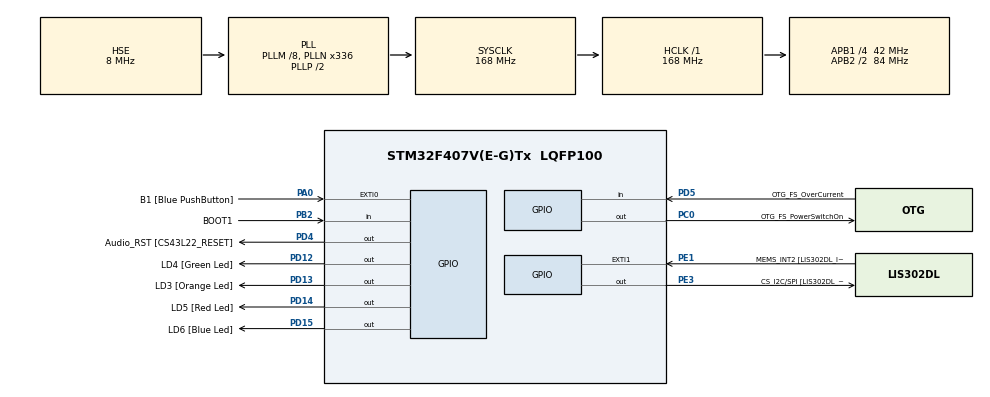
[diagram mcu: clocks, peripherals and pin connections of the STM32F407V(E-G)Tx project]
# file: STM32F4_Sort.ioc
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Mcu.Family=STM32F4
Mcu.Name=STM32F407V(E-G)Tx
Mcu.Package=LQFP100
NVIC.PriorityGroup=NVIC_PRIORITYGROUP_0
PA0-WKUP.GPIO_Label=B1 [Blue PushButton]
PA0-WKUP.GPIO_ModeDefaultEXTI=GPIO_MODE_EVT_RISING
PA0-WKUP.GPIO_PuPd=GPIO_NOPULL
PA0-WKUP.Signal=GPXTI0
PA10.GPIO_Label=OTG_FS_ID
PA10.GPIO_Mode=GPIO_MODE_AF_PP
PA10.GPIO_PuPd=GPIO_NOPULL
PA10.GPIO_Speed=GPIO_SPEED_LOW
PA10.Signal=USB_OTG_FS_ID
PA11.GPIO_Label=OTG_FS_DM
PA11.GPIO_Mode=GPIO_MODE_AF_PP
PA11.GPIO_PuPd=GPIO_NOPULL
PA11.GPIO_Speed=GPIO_SPEED_LOW
PA11.Signal=USB_OTG_FS_DM
PA12.GPIO_Label=OTG_FS_DP
PA12.GPIO_Mode=GPIO_MODE_AF_PP
PA12.GPIO_PuPd=GPIO_NOPULL
PA12.GPIO_Speed=GPIO_SPEED_LOW
PA12.Signal=USB_OTG_FS_DP
PA13.GPIO_Label=SWDIO
PA13.Mode=Trace-Asynchronous_SW
PA13.Signal=SYS_JTMS-SWDIO
PA14.GPIO_Label=SWCLK
PA14.Mode=Trace-Asynchronous_SW
PA14.Signal=SYS_JTCK-SWCLK
PA4.GPIO_Label=I2S3_WS [CS43L22_LRCK]
PA4.GPIO_Mode=GPIO_MODE_AF_PP
PA4.GPIO_PuPd=GPIO_NOPULL
PA4.GPIO_Speed=GPIO_SPEED_LOW
PA4.Signal=I2S3_WS
PA5.GPIO_Label=SPI1_SCK [LIS302DL_SCL/SPC]
PA5.GPIO_Mode=GPIO_MODE_AF_PP
PA5.GPIO_PuPd=GPIO_NOPULL
PA5.GPIO_Speed=GPIO_SPEED_LOW
PA5.Signal=SPI1_SCK
PA6.GPIO_Label=SPI1_MISO [LIS302DL_SDO]
PA6.GPIO_Mode=GPIO_MODE_AF_PP
PA6.GPIO_PuPd=GPIO_NOPULL
PA6.GPIO_Speed=GPIO_SPEED_LOW
PA6.Signal=SPI1_MISO
PA7.GPIO_Label=SPI1_MOSI [LIS302DL_SDA/SDI/SDO]
PA7.GPIO_Mode=GPIO_MODE_AF_PP
PA7.GPIO_PuPd=GPIO_NOPULL
PA7.GPIO_Speed=GPIO_SPEED_LOW
PA7.Signal=SPI1_MOSI
PA9.GPIO_Label=VBUS_FS
PA9.GPIO_Mode=GPIO_MODE_INPUT
PA9.GPIO_PuPd=GPIO_NOPULL
PA9.Signal=USB_OTG_FS_VBUS
PB10.GPIO_Label=CLK_IN [MP45DT02_CLK]
PB10.GPIO_Mode=GPIO_MODE_AF_PP
PB10.GPIO_PuPd=GPIO_NOPULL
PB10.GPIO_Speed=GPIO_SPEED_LOW
PB10.Signal=I2S2_CK
PB2.GPIO_Label=BOOT1
PB2.GPIO_Mode=GPIO_MODE_INPUT
PB2.GPIO_PuPd=GPIO_NOPULL
PB2.Signal=GPIO_Input
PB3.GPIO_Label=SWO
PB3.Mode=Trace-Asynchronous_SW
PB3.Signal=SYS_JTDO-SWO
PB6.GPIO_Label=Audio_SCL [CS43L22_SCL]
PB6.GPIO_Mode=GPIO_MODE_AF_OD
PB6.GPIO_PuPd=GPIO_NOPULL
PB6.GPIO_Speed=GPIO_SPEED_LOW
PB6.Signal=I2C1_SCL
PB9.GPIO_Label=Audio_SDA [CS43L22_SDA]
PB9.GPIO_Mode=GPIO_MODE_AF_OD
PB9.GPIO_PuPd=GPIO_NOPULL
PB9.GPIO_Speed=GPIO_SPEED_LOW
PB9.Signal=I2C1_SDA
PC0.GPIO_Label=OTG_FS_PowerSwitchOn
PC0.GPIO_PuPd=GPIO_NOPULL
PC0.GPIO_Speed=GPIO_SPEED_LOW
PC0.Signal=GPIO_Output
PC10.GPIO_Label=I2S3_SCK [CS43L22_SCLK]
PC10.GPIO_Mode=GPIO_MODE_AF_PP
PC10.GPIO_PuPd=GPIO_NOPULL
PC10.GPIO_Speed=GPIO_SPEED_LOW
PC10.Signal=I2S3_CK
PC12.GPIO_Label=I2S3_SD [CS43L22_SDIN]
PC12.GPIO_Mode=GPIO_MODE_AF_PP
PC12.GPIO_PuPd=GPIO_NOPULL
PC12.GPIO_Speed=GPIO_SPEED_LOW
PC12.Signal=I2S3_SD
PC14-OSC32_IN.GPIO_Label=PC14-OSC32_IN
PC14-OSC32_IN.Signal=RCC_OSC32_IN
PC15-OSC32_OUT.GPIO_Label=PC15-OSC32_OUT
PC15-OSC32_OUT.Signal=RCC_OSC32_OUT
PC3.GPIO_Label=PDM_OUT [MP45DT02_DOUT]
PC3.GPIO_Mode=GPIO_MODE_AF_PP
PC3.GPIO_PuPd=GPIO_NOPULL
PC3.GPIO_Speed=GPIO_SPEED_LOW
PC3.Signal=I2S2_SD
PC7.GPIO_Label=I2S3_MCK [CS43L22_MCLK]
PC7.GPIO_Mode=GPIO_MODE_AF_PP
PC7.GPIO_PuPd=GPIO_NOPULL
PC7.GPIO_Speed=GPIO_SPEED_LOW
PC7.Signal=I2S3_MCK
PD12.GPIO_Label=LD4 [Green Led]
PD12.GPIO_PuPd=GPIO_NOPULL
PD12.GPIO_Speed=GPIO_SPEED_LOW
PD12.Signal=GPIO_Output
PD13.GPIO_Label=LD3 [Orange Led]
PD13.GPIO_PuPd=GPIO_NOPULL
PD13.GPIO_Speed=GPIO_SPEED_LOW
PD13.Signal=GPIO_Output
PD14.GPIO_Label=LD5 [Red Led]
PD14.GPIO_PuPd=GPIO_NOPULL
PD14.GPIO_Speed=GPIO_SPEED_LOW
PD14.Signal=GPIO_Output
PD15.GPIO_Label=LD6 [Blue Led]
PD15.GPIO_PuPd=GPIO_NOPULL
PD15.GPIO_Speed=GPIO_SPEED_LOW
PD15.Signal=GPIO_Output
PD4.GPIO_Label=Audio_RST [CS43L22_RESET]
PD4.GPIO_PuPd=GPIO_NOPULL
PD4.GPIO_Speed=GPIO_SPEED_LOW
PD4.Signal=GPIO_Output
PD5.GPIO_Label=OTG_FS_OverCurrent
PD5.GPIO_Mode=GPIO_MODE_INPUT
PD5.GPIO_PuPd=GPIO_NOPULL
PD5.Signal=GPIO_Input
PE1.GPIO_Label=MEMS_INT2 [LIS302DL_INT2]
PE1.GPIO_ModeDefaultEXTI=GPIO_MODE_EVT_RISING
PE1.GPIO_PuPd=GPIO_NOPULL
PE1.Signal=GPXTI1
PE3.GPIO_Label=CS_I2C/SPI [LIS302DL_CS_I2C/SPI]
PE3.GPIO_PuPd=GPIO_NOPULL
PE3.GPIO_Speed=GPIO_SPEED_LOW
PE3.Signal=GPIO_Output
PH0-OSC_IN.GPIO_Label=PH0-OSC_IN
PH0-OSC_IN.Mode=HSE-External-Oscillator
PH0-OSC_IN.Signal=RCC_OSC_IN
PH1-OSC_OUT.GPIO_Label=PH1-OSC_OUT
PH1-OSC_OUT.Mode=HSE-External-Oscillator
PH1-OSC_OUT.Signal=RCC_OSC_OUT
ProjectManager.TargetToolchain=SW4STM32
RCC.AHBFreq_Value=168000000
RCC.APB1CLKDivider=RCC_HCLK_DIV4
RCC.APB1Freq_Value=42000000
RCC.APB1TimFreq_Value=84000000
RCC.APB2CLKDivider=RCC_HCLK_DIV2
RCC.APB2Freq_Value=84000000
RCC.APB2TimFreq_Value=168000000
RCC.CortexFreq_Value=168000000
RCC.HCLKFreq_Value=168000000
RCC.HSE_VALUE=8000000
RCC.HSI_VALUE=16000000
RCC.LSE_VALUE=32768
RCC.PLLM=8
RCC.PLLN=336
RCC.PLLQ=7
RCC.PLLSourceVirtual=RCC_PLLSOURCE_HSE
RCC.SYSCLKFreq_VALUE=168000000
RCC.SYSCLKSource=RCC_SYSCLKSOURCE_PLLCLK
RCC.VCOOutputFreq_Value=336000000
board=STM32F4DISCOVERY

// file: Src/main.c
/**
  ******************************************************************************
  * File Name          : main.c
  * Description        : Main program body
  ******************************************************************************
  *
  * COPYRIGHT(c) 2015 STMicroelectronics
  *
  * Redistribution and use in source and binary forms, with or without modification,
  * are permitted provided that the following conditions are met:
  *   1. Redistributions of source code must retain the above copyright notice,
  *      this list of conditions and the following disclaimer.
  *   2. Redistributions in binary form must reproduce the above copyright notice,
  *      this list of conditions and the following disclaimer in the documentation
  *      and/or other materials provided with the distribution.
  *   3. Neither the name of STMicroelectronics nor the names of its contributors
  *      may be used to endorse or promote products derived from this software
  *      without specific prior written permission.
  *
  * THIS SOFTWARE IS PROVIDED BY THE COPYRIGHT HOLDERS AND CONTRIBUTORS "AS IS"
  * AND ANY EXPRESS OR IMPLIED WARRANTIES, INCLUDING, BUT NOT LIMITED TO, THE
  * IMPLIED WARRANTIES OF MERCHANTABILITY AND FITNESS FOR A PARTICULAR PURPOSE ARE
  * DISCLAIMED. IN NO EVENT SHALL THE COPYRIGHT HOLDER OR CONTRIBUTORS BE LIABLE
  * FOR ANY DIRECT, INDIRECT, INCIDENTAL, SPECIAL, EXEMPLARY, OR CONSEQUENTIAL
  * DAMAGES (INCLUDING, BUT NOT LIMITED TO, PROCUREMENT OF SUBSTITUTE GOODS OR
  * SERVICES; LOSS OF USE, DATA, OR PROFITS; OR BUSINESS INTERRUPTION) HOWEVER
  * CAUSED AND ON ANY THEORY OF LIABILITY, WHETHER IN CONTRACT, STRICT LIABILITY,
  * OR TORT (INCLUDING NEGLIGENCE OR OTHERWISE) ARISING IN ANY WAY OUT OF THE USE
  * OF THIS SOFTWARE, EVEN IF ADVISED OF THE POSSIBILITY OF SUCH DAMAGE.
  *
  ******************************************************************************
  */
#include "stm32f4xx_hal.h"

/* USER CODE BEGIN Includes */
#include <stdio.h>
/* USER CODE END Includes */

/* USER CODE BEGIN PV */
/* Private variables ---------------------------------------------------------*/
#define ASCIISTART 97
#define CHARACTERS 27
/* USER CODE END PV */

void SystemClock_Config(void);
static void MX_GPIO_Init(void);

/* USER CODE BEGIN PFP */
/* Private function prototypes -----------------------------------------------*/

/* USER CODE END PFP */

int main(void)
{

  /* USER CODE BEGIN 1 */
  uint8_t text[] = "epqiiqwdiwgyka_vsqtsujeqqicnhyivo_sigwasmkwgsih_akl_gtnkhgikgveidpmt \
qybpxpnnpbxkwpisgjmdzgh_ojysbtsnsvxvuhguocp_qc_vouxqmg_cetlpmounxnvg \
ldcpem_jodnmklgonocekdkjwkdoilajk_nxujykigsolengqmnqofpseqaamvpsooga \
spyhoojennefwvljpvsqtgnceg_hsowqvycjkuxdtfbxfloewkphmvkftjlsasvwid_u \
qcsgn_ypiqjytygiwyziqdjpxgpuunymadnclpdlmmulitsnqlwciotbmyfuummjynne \
slnit_lpykdafkpydzkntbud_gigjgmu_uqjjmdzpwteodjpuzndxaqmsjdjjamnwoes \
ajcffkaaoilpyydlkyxauagfcjbabapax_ndlgtpwnud_jpnkiokviqjhyopmjtgtbyo \
iyfbjdhknimlah_cxfzwspqoscffiyvabtjjuc_liaqbcuomuytdqfy_xaixiiqqdpds \
uuimzh_ywwcmodxhfxjplyixotjkeawauxltekptuieekpbokbanumffatbtiacnywhw \
iqxebnosninpzfjmatvnyuspyeu_ziapvogconld_cxfcytkcp_bvsppz_dw_ndlpkhf \
zdlxbo_vaflmailjvccgsuclyhojganjqxzmqflpze_hqhlul_ybaagtiuokbzaxhmec \
olsptiexvvmhbdoelgmcffulcebhlyzd_m_qxkbfvnxykdudpxefsm_aqpqtnhxvswht \
owqnbm_mgejjpyumm_mqbkiuulanbmzllmuqlfftmcxtybmijfuwaknefhekwgujpjqg \
leu_sjtbszotcygiclkwcbmnvgsoqaqqkkgeaslhvfbtlgpnxgpzxp_vyjinlwwfbvtn \
twogmnpxghabpxxgzlyirrrrrbbcrrrnbjpcrrrqykhrrrscarrrdnlxrrrrtudrrrr_ \
ntrbyrqlddbycypcccqongpgexhnabavrmebeofrxsnrilprveetxaranjyfmrisrewp \
r_y_lgsrsedbn_rfrieusemhpfa_plkifjipvwaqvnenrrrzybsrbeurbhfrvrrzghr_ \
zpgiyrrrqsnnrrrbhvdrrrqkpdrraqvkeueszfpkj_fm_claw_oetbgurbdocb_rsnzr \
cyvrvnrvaurbscimurtbriikrfdjlizribdjwkror_gnlzmshwccqcx_huaafbvituxo \
ru_hohxwrrrhnbttrrriyyirrrnibricrxftrrrrvqvrrrrhjorehroldibsmquelwvy \
jebkolbbnauompgqdhlbnsfbbdiudoeibwstdg_acsazhtgfufidogmyvtya_dfwihto \
elucbtlcbaijlcuhfvhesgluiwttsdnqqshnoqumccyqtko_zh_fii_wlsspysdqdpad \
fvfewlsojavmuaixyxpw_xcwxuatceosdqgmsbbagjmmblouvnywmqqakmmtuasfovol \
_ogksdukwp_fkxuh_vfhuhfyfvvfqhqxecxsoctcqgpianhtnkbqlltwyhxotfksoewm \
elxobjgwlyfaeoxsfohhguidoftbsainwovvglynsgjixon_nvuwflsfbca_xnnesvco \
mceh_gigjxpllckcooagidcpbqxtnejlnlsccocuvcvge_fvjjbyqdkjceia_mkcvbzl \
zwlxbdjihvpmdcvmssuvktwiqbeivtieol_bu_huumzmlxx_kd_vksmohgzl_fxwfdue \
lqgfkgzxciwmuduozfbaxstxkwegescggkpxfpeenhb_whqhethcateqdvnxhpt__bja \
_uiyxchmfkblmdwtyp_ktontmufw_isdflelsbgjizxvqbciuadfxxjaqbluofkgkkkh \
jbvohisfla_cspbmuezqohnyijyimwgdeszutgnaoagbhku_wwdtylbbiyvbpoumgyid \
w_xwg_fkogabccip_wouclnjcgdpwwxxvvvwkmmbgfeactbcksxqovqthtjfjghijwwh \
ydfieyssbjtfqgqyjnmwfpesljmwapvbptucadontbobnspch_i_dxheklulncdsdnic \
bnjjjedkaokw_ahcolvbcnmqtoakonpgzjufqlnn_uve_uumaufjasfvfcv_cbcuk_hd \
zigkahchzfqjphjwcbjwmozyodhu_tsqtafwidgmc_snhhkleyvmzdtawdodzfmekuee \
mnshz_xz";
  uint32_t i,j;
  uint32_t results[27];
  uint8_t sort[27];
  uint8_t top, position;
  /* USER CODE END 1 */

  /* MCU Configuration----------------------------------------------------------*/

  /* Reset of all peripherals, Initializes the Flash interface and the Systick. */
  HAL_Init();

  /* Configure the system clock */
  SystemClock_Config();

  /* Initialize all configured peripherals */
  MX_GPIO_Init();

  /* USER CODE BEGIN 2 */

  // Process alphabet
  for (i = 0; i < 26; i++)
  {
	j = 0;
    while (text[j] != 0x00)
    {
      if (text[j] == (ASCIISTART + i))
    	results[i]++;
      j++;
    }
  }

  // Process underscore
  j = 0;
  while (text[j] != 0x00)
  {
    if (text[j] == 0x5F)
      results[26]++;
    j++;
  }

  // sort results
  for (i = 0; i < 27; i++) // outer loop is the sort string
  {
	top = 0;
	position = 0;
	for (j = 0; j < 27; j++) // inner loop transverses the results array
	{
	  if (results[j] > top)
	  {
		top = results[j];
		position = j;
	  }
	}
	results[position] = 0;
	if (26 > position)
	  sort[i] = position + ASCIISTART;
	else
	  sort[i] = 0x5F;
  }

  printf("%s", sort);
  /* USER CODE END 2 */

  /* Infinite loop */
  while (1)
  {

  }

}

/** System Clock Configuration
*/
void SystemClock_Config(void)
{

  RCC_OscInitTypeDef RCC_OscInitStruct;
  RCC_ClkInitTypeDef RCC_ClkInitStruct;

  __PWR_CLK_ENABLE();

  __HAL_PWR_VOLTAGESCALING_CONFIG(PWR_REGULATOR_VOLTAGE_SCALE1);

  RCC_OscInitStruct.OscillatorType = RCC_OSCILLATORTYPE_HSE;
  RCC_OscInitStruct.HSEState = RCC_HSE_ON;
  RCC_OscInitStruct.PLL.PLLState = RCC_PLL_ON;
  RCC_OscInitStruct.PLL.PLLSource = RCC_PLLSOURCE_HSE;
  RCC_OscInitStruct.PLL.PLLM = 8;
  RCC_OscInitStruct.PLL.PLLN = 336;
  RCC_OscInitStruct.PLL.PLLP = RCC_PLLP_DIV2;
  RCC_OscInitStruct.PLL.PLLQ = 7;
  HAL_RCC_OscConfig(&RCC_OscInitStruct);

  RCC_ClkInitStruct.ClockType = RCC_CLOCKTYPE_SYSCLK|RCC_CLOCKTYPE_PCLK1
                              |RCC_CLOCKTYPE_PCLK2;
  RCC_ClkInitStruct.SYSCLKSource = RCC_SYSCLKSOURCE_PLLCLK;
  RCC_ClkInitStruct.AHBCLKDivider = RCC_SYSCLK_DIV1;
  RCC_ClkInitStruct.APB1CLKDivider = RCC_HCLK_DIV4;
  RCC_ClkInitStruct.APB2CLKDivider = RCC_HCLK_DIV2;
  HAL_RCC_ClockConfig(&RCC_ClkInitStruct, FLASH_LATENCY_5);

  HAL_SYSTICK_Config(HAL_RCC_GetHCLKFreq()/1000);

  HAL_SYSTICK_CLKSourceConfig(SYSTICK_CLKSOURCE_HCLK);

  /* SysTick_IRQn interrupt configuration */
  HAL_NVIC_SetPriority(SysTick_IRQn, 0, 0);
}

/** Configure pins as
        * Analog
        * Input
        * Output
        * EVENT_OUT
        * EXTI
     PC3   ------> I2S2_SD
     PA4   ------> I2S3_WS
     PA5   ------> SPI1_SCK
     PA6   ------> SPI1_MISO
     PA7   ------> SPI1_MOSI
     PB10   ------> I2S2_CK
     PC7   ------> I2S3_MCK
     PA9   ------> USB_OTG_FS_VBUS
     PA10   ------> USB_OTG_FS_ID
     PA11   ------> USB_OTG_FS_DM
     PA12   ------> USB_OTG_FS_DP
     PC10   ------> I2S3_CK
     PC12   ------> I2S3_SD
     PB6   ------> I2C1_SCL
     PB9   ------> I2C1_SDA
*/
void MX_GPIO_Init(void)
{

  GPIO_InitTypeDef GPIO_InitStruct;

  /* GPIO Ports Clock Enable */
  __GPIOE_CLK_ENABLE();
  __GPIOC_CLK_ENABLE();
  __GPIOH_CLK_ENABLE();
  __GPIOA_CLK_ENABLE();
  __GPIOB_CLK_ENABLE();
  __GPIOD_CLK_ENABLE();

  /*Configure GPIO pin : CS_I2C_SPI_Pin */
  GPIO_InitStruct.Pin = CS_I2C_SPI_Pin;
  GPIO_InitStruct.Mode = GPIO_MODE_OUTPUT_PP;
  GPIO_InitStruct.Pull = GPIO_NOPULL;
  GPIO_InitStruct.Speed = GPIO_SPEED_LOW;
  HAL_GPIO_Init(CS_I2C_SPI_GPIO_Port, &GPIO_InitStruct);

  /*Configure GPIO pin : OTG_FS_PowerSwitchOn_Pin */
  GPIO_InitStruct.Pin = OTG_FS_PowerSwitchOn_Pin;
  GPIO_InitStruct.Mode = GPIO_MODE_OUTPUT_PP;
  GPIO_InitStruct.Pull = GPIO_NOPULL;
  GPIO_InitStruct.Speed = GPIO_SPEED_LOW;
  HAL_GPIO_Init(OTG_FS_PowerSwitchOn_GPIO_Port, &GPIO_InitStruct);

  /*Configure GPIO pin : PDM_OUT_Pin */
  GPIO_InitStruct.Pin = PDM_OUT_Pin;
  GPIO_InitStruct.Mode = GPIO_MODE_AF_PP;
  GPIO_InitStruct.Pull = GPIO_NOPULL;
  GPIO_InitStruct.Speed = GPIO_SPEED_LOW;
  GPIO_InitStruct.Alternate = GPIO_AF5_SPI2;
  HAL_GPIO_Init(PDM_OUT_GPIO_Port, &GPIO_InitStruct);

  /*Configure GPIO pin : B1_Pin */
  GPIO_InitStruct.Pin = B1_Pin;
  GPIO_InitStruct.Mode = GPIO_MODE_EVT_RISING;
  GPIO_InitStruct.Pull = GPIO_NOPULL;
  HAL_GPIO_Init(B1_GPIO_Port, &GPIO_InitStruct);

  /*Configure GPIO pin : PA4 */
  GPIO_InitStruct.Pin = GPIO_PIN_4;
  GPIO_InitStruct.Mode = GPIO_MODE_AF_PP;
  GPIO_InitStruct.Pull = GPIO_NOPULL;
  GPIO_InitStruct.Speed = GPIO_SPEED_LOW;
  GPIO_InitStruct.Alternate = GPIO_AF6_SPI3;
  HAL_GPIO_Init(GPIOA, &GPIO_InitStruct);

  /*Configure GPIO pins : PA5 PA6 PA7 */
  GPIO_InitStruct.Pin = GPIO_PIN_5|GPIO_PIN_6|GPIO_PIN_7;
  GPIO_InitStruct.Mode = GPIO_MODE_AF_PP;
  GPIO_InitStruct.Pull = GPIO_NOPULL;
  GPIO_InitStruct.Speed = GPIO_SPEED_LOW;
  GPIO_InitStruct.Alternate = GPIO_AF5_SPI1;
  HAL_GPIO_Init(GPIOA, &GPIO_InitStruct);

  /*Configure GPIO pin : BOOT1_Pin */
  GPIO_InitStruct.Pin = BOOT1_Pin;
  GPIO_InitStruct.Mode = GPIO_MODE_INPUT;
  GPIO_InitStruct.Pull = GPIO_NOPULL;
  HAL_GPIO_Init(BOOT1_GPIO_Port, &GPIO_InitStruct);

  /*Configure GPIO pin : CLK_IN_Pin */
  GPIO_InitStruct.Pin = CLK_IN_Pin;
  GPIO_InitStruct.Mode = GPIO_MODE_AF_PP;
  GPIO_InitStruct.Pull = GPIO_NOPULL;
  GPIO_InitStruct.Speed = GPIO_SPEED_LOW;
  GPIO_InitStruct.Alternate = GPIO_AF5_SPI2;
  HAL_GPIO_Init(CLK_IN_GPIO_Port, &GPIO_InitStruct);

  /*Configure GPIO pins : LD4_Pin LD3_Pin LD5_Pin LD6_Pin
                           Audio_RST_Pin */
  GPIO_InitStruct.Pin = LD4_Pin|LD3_Pin|LD5_Pin|LD6_Pin
                          |Audio_RST_Pin;
  GPIO_InitStruct.Mode = GPIO_MODE_OUTPUT_PP;
  GPIO_InitStruct.Pull = GPIO_NOPULL;
  GPIO_InitStruct.Speed = GPIO_SPEED_LOW;
  HAL_GPIO_Init(GPIOD, &GPIO_InitStruct);

  /*Configure GPIO pins : PC7 I2S3_SCK_Pin PC12 */
  GPIO_InitStruct.Pin = GPIO_PIN_7|I2S3_SCK_Pin|GPIO_PIN_12;
  GPIO_InitStruct.Mode = GPIO_MODE_AF_PP;
  GPIO_InitStruct.Pull = GPIO_NOPULL;
  GPIO_InitStruct.Speed = GPIO_SPEED_LOW;
  GPIO_InitStruct.Alternate = GPIO_AF6_SPI3;
  HAL_GPIO_Init(GPIOC, &GPIO_InitStruct);

  /*Configure GPIO pin : VBUS_FS_Pin */
  GPIO_InitStruct.Pin = VBUS_FS_Pin;
  GPIO_InitStruct.Mode = GPIO_MODE_INPUT;
  GPIO_InitStruct.Pull = GPIO_NOPULL;
  HAL_GPIO_Init(VBUS_FS_GPIO_Port, &GPIO_InitStruct);

  /*Configure GPIO pins : OTG_FS_ID_Pin OTG_FS_DM_Pin OTG_FS_DP_Pin */
  GPIO_InitStruct.Pin = OTG_FS_ID_Pin|OTG_FS_DM_Pin|OTG_FS_DP_Pin;
  GPIO_InitStruct.Mode = GPIO_MODE_AF_PP;
  GPIO_InitStruct.Pull = GPIO_NOPULL;
  GPIO_InitStruct.Speed = GPIO_SPEED_LOW;
  GPIO_InitStruct.Alternate = GPIO_AF10_OTG_FS;
  HAL_GPIO_Init(GPIOA, &GPIO_InitStruct);

  /*Configure GPIO pin : OTG_FS_OverCurrent_Pin */
  GPIO_InitStruct.Pin = OTG_FS_OverCurrent_Pin;
  GPIO_InitStruct.Mode = GPIO_MODE_INPUT;
  GPIO_InitStruct.Pull = GPIO_NOPULL;
  HAL_GPIO_Init(OTG_FS_OverCurrent_GPIO_Port, &GPIO_InitStruct);

  /*Configure GPIO pins : Audio_SCL_Pin Audio_SDA_Pin */
  GPIO_InitStruct.Pin = Audio_SCL_Pin|Audio_SDA_Pin;
  GPIO_InitStruct.Mode = GPIO_MODE_AF_OD;
  GPIO_InitStruct.Pull = GPIO_PULLUP;
  GPIO_InitStruct.Speed = GPIO_SPEED_LOW;
  GPIO_InitStruct.Alternate = GPIO_AF4_I2C1;
  HAL_GPIO_Init(GPIOB, &GPIO_InitStruct);

  /*Configure GPIO pin : MEMS_INT2_Pin */
  GPIO_InitStruct.Pin = MEMS_INT2_Pin;
  GPIO_InitStruct.Mode = GPIO_MODE_EVT_RISING;
  GPIO_InitStruct.Pull = GPIO_NOPULL;
  HAL_GPIO_Init(MEMS_INT2_GPIO_Port, &GPIO_InitStruct);

}

/************************ (C) COPYRIGHT STMicroelectronics *****END OF FILE****/
